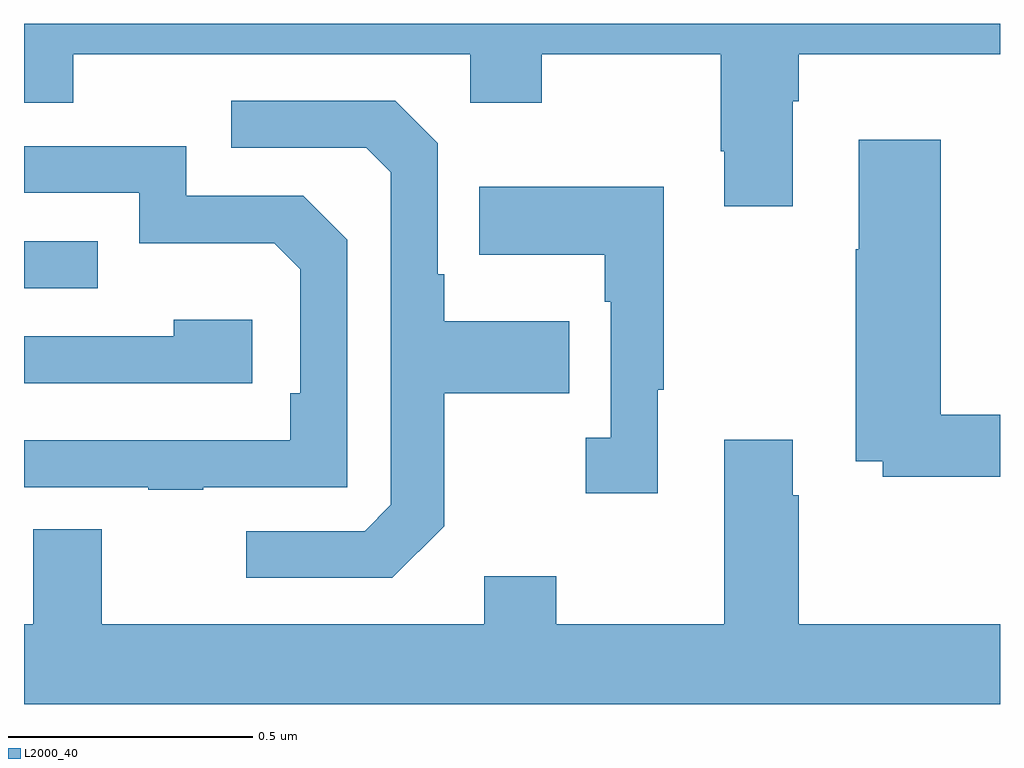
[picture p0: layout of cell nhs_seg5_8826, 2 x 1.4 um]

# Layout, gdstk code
import gdstk
lib = gdstk.Library(unit=1e-6, precision=1e-09)
def R(c, l, rs):  # rectangles x0, y0, x1, y1
    for r in rs: c.add(gdstk.rectangle(r[:2], r[2:], *l))
def P(c, l, *ps):  # polygons
    for p in ps: c.add(gdstk.Polygon(p, *l))
L2000_40 = (2000, 40)

nhs_seg5_8826 = lib.new_cell('nhs_seg5_8826')
R(nhs_seg5_8826, L2000_40, [(226,880.257,226.151,880.353)])
P(nhs_seg5_8826, L2000_40, [(227.575,880.64),(227.588,880.64),(227.588,880.736),(228,880.736),(228,880.799),(226,880.799),(226,880.637),(226.101,880.637),(226.101,880.736),(226.914,880.736),(226.914,880.637),(227.061,880.637),(227.061,880.736),(227.428,880.736),(227.428,880.537),(227.435,880.537),(227.435,880.425),(227.575,880.425)],
  [(226.861,879.769),(226.861,880.042),(227.117,880.042),(227.117,880.189),(226.861,880.189),(226.861,880.285),(226.848,880.285),(226.848,880.554),(226.761,880.641),(226.425,880.641),(226.425,880.545),(226.701,880.545),(226.752,880.494),(226.752,879.813),(226.698,879.759),(226.455,879.759),(226.455,879.663),(226.755,879.663)],
  [(228,879.998),(227.879,879.998),(227.879,880.561),(227.711,880.561),(227.711,880.337),(227.704,880.337),(227.704,879.902),(227.76,879.902),(227.76,879.87),(228,879.87)],
  [(226.367,879.849),(226.662,879.849),(226.662,880.356),(226.572,880.446),(226.332,880.446),(226.332,880.548),(226,880.548),(226,880.452),(226.236,880.452),(226.236,880.349),(226.513,880.349),(226.566,880.296),(226.566,880.042),(226.546,880.042),(226.546,879.945),(226,879.945),(226,879.849),(226.255,879.849),(226.255,879.844),(226.367,879.844)],
  [(227.299,880.049),(227.311,880.049),(227.311,880.465),(226.933,880.465),(226.933,880.325),(227.19,880.325),(227.19,880.229),(227.202,880.229),(227.202,879.95),(227.151,879.95),(227.151,879.837),(227.299,879.837)],
  [(226.468,880.192),(226.307,880.192),(226.307,880.158),(226,880.158),(226,880.062),(226.468,880.062)],
  [(228,879.568),(227.588,879.568),(227.588,879.833),(227.575,879.833),(227.575,879.946),(227.435,879.946),(227.435,879.568),(227.091,879.568),(227.091,879.667),(226.943,879.667),(226.943,879.568),(226.159,879.568),(226.159,879.763),(226.019,879.763),(226.019,879.568),(226,879.568),(226,879.404),(228,879.404)])

lib.write_gds('nhs_seg5_8826.gds')
